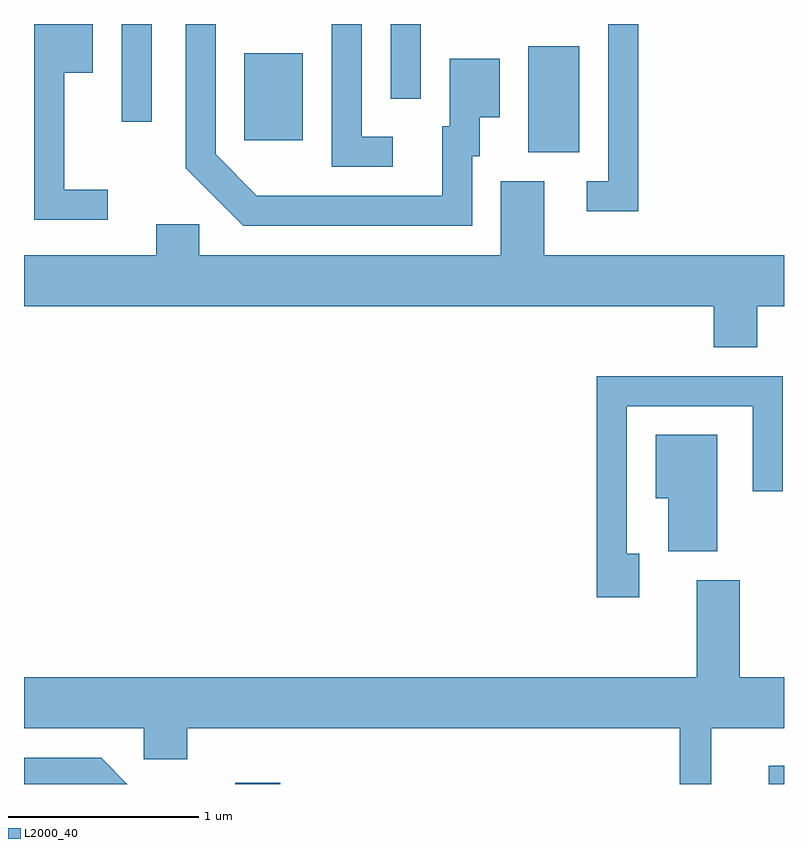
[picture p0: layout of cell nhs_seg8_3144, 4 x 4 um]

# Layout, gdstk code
import gdstk
lib = gdstk.Library(unit=1e-6, precision=1e-09)
def R(c, l, rs):  # rectangles x0, y0, x1, y1
    for r in rs: c.add(gdstk.rectangle(r[:2], r[2:], *l))
def P(c, l, *ps):  # polygons
    for p in ps: c.add(gdstk.Polygon(p, *l))
L2000_40 = (2000, 40)

nhs_seg8_3144 = lib.new_cell('nhs_seg8_3144')
R(nhs_seg8_3144, L2000_40, [(280.723,1838.342,280.959,1838.349), (283.531,1838.342,283.611,1838.439), (282.266,1841.666,282.534,1842.224), (280.771,1841.731,281.079,1842.189), (280.126,1841.828,280.284,1842.342), (281.541,1841.948,281.699,1842.342)])
P(nhs_seg8_3144, L2000_40, [(281.969,1841.646),(282.009,1841.646),(282.009,1841.851),(282.114,1841.851),(282.114,1842.159),(281.851,1842.159),(281.851,1841.804),(281.811,1841.804),(281.811,1841.439),(280.837,1841.439),(280.619,1841.657),(280.619,1842.342),(280.461,1842.342),(280.461,1841.584),(280.764,1841.281),(281.969,1841.281)],
  [(281.553,1841.749),(281.389,1841.749),(281.389,1842.342),(281.231,1842.342),(281.231,1841.591),(281.553,1841.591)],
  [(280.053,1841.469),(279.824,1841.469),(279.824,1842.086),(279.974,1842.086),(279.974,1842.342),(279.666,1842.342),(279.666,1841.311),(280.053,1841.311)],
  [(282.844,1842.342),(282.686,1842.342),(282.686,1841.514),(282.573,1841.514),(282.573,1841.356),(282.844,1841.356)],
  [(283.469,1840.856),(283.611,1840.856),(283.611,1841.124),(282.349,1841.124),(282.349,1841.514),(282.121,1841.514),(282.121,1841.124),(280.534,1841.124),(280.534,1841.289),(280.306,1841.289),(280.306,1841.124),(279.611,1841.124),(279.611,1840.856),(283.241,1840.856),(283.241,1840.641),(283.469,1840.641)],
  [(282.849,1839.554),(282.784,1839.554),(282.784,1840.331),(283.446,1840.331),(283.446,1839.883),(283.604,1839.883),(283.604,1840.489),(282.626,1840.489),(282.626,1839.326),(282.849,1839.326)],
  [(283.259,1840.179),(282.936,1840.179),(282.936,1839.846),(283.001,1839.846),(283.001,1839.566),(283.259,1839.566)],
  [(283.229,1838.636),(283.611,1838.636),(283.611,1838.904),(283.379,1838.904),(283.379,1839.414),(283.151,1839.414),(283.151,1838.904),(279.611,1838.904),(279.611,1838.636),(280.241,1838.636),(280.241,1838.471),(280.469,1838.471),(280.469,1838.636),(283.061,1838.636),(283.061,1838.342),(283.229,1838.342)],
  [(280.017,1838.479),(279.611,1838.479),(279.611,1838.342),(280.154,1838.342)])

lib.write_gds('nhs_seg8_3144.gds')
